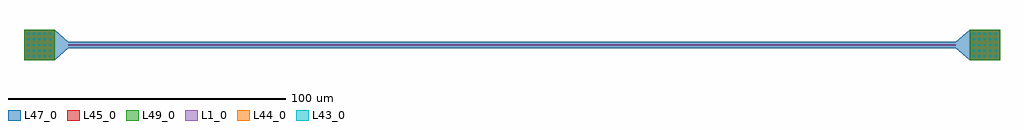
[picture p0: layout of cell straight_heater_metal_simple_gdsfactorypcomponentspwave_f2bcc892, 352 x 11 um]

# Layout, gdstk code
from math import pi, radians
import gdstk
lib = gdstk.Library(unit=1e-6, precision=1e-09)
def R(c, l, rs):  # rectangles x0, y0, x1, y1
    for r in rs: c.add(gdstk.rectangle(r[:2], r[2:], *l))
def P(c, l, *ps):  # polygons
    for p in ps: c.add(gdstk.Polygon(p, *l))
L1_0 = (1, 0)
L43_0 = (43, 0)
L44_0 = (44, 0)
L45_0 = (45, 0)
L47_0 = (47, 0)
L49_0 = (49, 0)

straight_gdsfactorypcomp = lib.new_cell('straight_gdsfactorypcomponentspwaveguidespstraight_L320_7770fef3')
R(straight_gdsfactorypcomp, L1_0, [(0,-0.25,320,0.25)])
R(straight_gdsfactorypcomp, L47_0, [(0,-1.25,320,1.25)])

compass_gdsfactorypcompo = lib.new_cell('compass_gdsfactorypcomponentspshapespcompass_S11_11_LHE_3406ca65')
R(compass_gdsfactorypcompo, L47_0, [(-5.5,-5.5,5.5,5.5)])

c_compass_gdsfactorypcompo = lib.new_cell('compass_gdsfactorypcomponentspshapespcompass_S11_11_LM2_786eb8ce')
R(c_compass_gdsfactorypcompo, L45_0, [(-5.5,-5.5,5.5,5.5)])

c_compass_gdsfactorypcompo_ = lib.new_cell('compass_gdsfactorypcomponentspshapespcompass_S11_11_LM3_4637d102')
R(c_compass_gdsfactorypcompo_, L49_0, [(-5.5,-5.5,5.5,5.5)])

via_gdsfactorypcomponent = lib.new_cell('via_gdsfactorypcomponentspviaspvia_S0p7_0p7_E1_LVIA1_BL_0068d91e')
R(via_gdsfactorypcomponent, L44_0, [(-0.35,-0.35,0.35,0.35)])

c_via_gdsfactorypcomponent = lib.new_cell('via_gdsfactorypcomponentspviaspvia_S0p7_0p7_E1_LVIA2_BL_c51b5ebb')
R(c_via_gdsfactorypcomponent, L43_0, [(-0.35,-0.35,0.35,0.35)])

via_stack_gdsfactorypcom = lib.new_cell('via_stack_gdsfactorypcomponentspviaspvia_stack_S11_11_L_1d420169')
via_stack_gdsfactorypcom.add(gdstk.Reference(compass_gdsfactorypcompo, (0,0)))
via_stack_gdsfactorypcom.add(gdstk.Reference(c_compass_gdsfactorypcompo, (0,0)))
via_stack_gdsfactorypcom.add(gdstk.Reference(c_compass_gdsfactorypcompo_, (0,0)))
r = gdstk.Reference(via_gdsfactorypcomponent, (-4,-4)); r.repetition = gdstk.Repetition(5, 5, v1=(2,0), v2=(0,2)); via_stack_gdsfactorypcom.add(r)
r = gdstk.Reference(c_via_gdsfactorypcomponent, (-4,-4)); r.repetition = gdstk.Repetition(5, 5, v1=(2,0), v2=(0,2)); via_stack_gdsfactorypcom.add(r)

taper_gdsfactorypcompone = lib.new_cell('taper_gdsfactorypcomponentsptapersptaper_L5_W11_W2p5_LN_4ddd9be8')
P(taper_gdsfactorypcompone, L47_0, [(0,-5.5),(0,5.5),(5,1.25),(5,-1.25)])

straight_heater_metal_si = lib.new_cell('straight_heater_metal_simple_gdsfactorypcomponentspwave_f2bcc892')
straight_heater_metal_si.add(gdstk.Reference(straight_gdsfactorypcomp, (0,0)))
straight_heater_metal_si.add(gdstk.Reference(via_stack_gdsfactorypcom, (-10.5,0)))
straight_heater_metal_si.add(gdstk.Reference(via_stack_gdsfactorypcom, (330.5,0)))
straight_heater_metal_si.add(gdstk.Reference(taper_gdsfactorypcompone, (-5,0)))
straight_heater_metal_si.add(gdstk.Reference(taper_gdsfactorypcompone, (325,0), rotation=pi))

lib.write_gds('straight_heater_metal_simple_gdsfactorypcomponentspwave_f2bcc892.gds')
